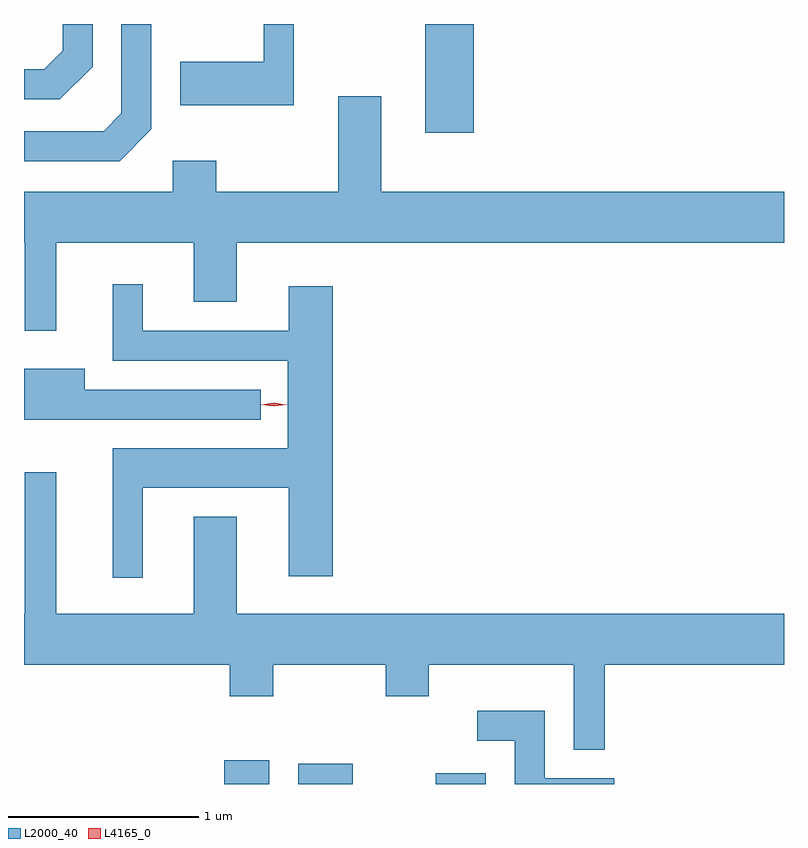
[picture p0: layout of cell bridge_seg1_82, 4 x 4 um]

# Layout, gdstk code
import gdstk
lib = gdstk.Library(unit=1e-6, precision=1e-09)
def R(c, l, rs):  # rectangles x0, y0, x1, y1
    for r in rs: c.add(gdstk.rectangle(r[:2], r[2:], *l))
def P(c, l, *ps):  # polygons
    for p in ps: c.add(gdstk.Polygon(p, *l))
L2000_40 = (2000, 40)
L4165_0 = (4165, 0)

bridge_seg1_82 = lib.new_cell('bridge_seg1_82')
R(bridge_seg1_82, L2000_40, [(1198.381,945.568,1198.619,945.694), (1198.771,945.568,1199.058,945.674), (1199.496,945.568,1199.759,945.624), (1199.441,948.996,1199.694,949.568)])
P(bridge_seg1_82, L2000_40, [(1197.999,949.014),(1197.999,949.568),(1197.841,949.568),(1197.841,949.097),(1197.749,949.004),(1197.328,949.004),(1197.328,948.846),(1197.832,948.846)],
  [(1198.749,949.568),(1198.591,949.568),(1198.591,949.369),(1198.151,949.369),(1198.151,949.141),(1198.749,949.141)],
  [(1197.689,949.344),(1197.689,949.568),(1197.531,949.568),(1197.531,949.427),(1197.434,949.329),(1197.328,949.329),(1197.328,949.171),(1197.517,949.171)],
  [(1197.499,948.416),(1198.221,948.416),(1198.221,948.106),(1198.449,948.106),(1198.449,948.416),(1201.328,948.416),(1201.328,948.684),(1199.209,948.684),(1199.209,949.189),(1198.981,949.189),(1198.981,948.684),(1198.339,948.684),(1198.339,948.849),(1198.111,948.849),(1198.111,948.684),(1197.328,948.684),(1197.328,948.416),(1197.331,948.416),(1197.331,947.953),(1197.499,947.953)],
  [(1197.954,947.126),(1198.721,947.126),(1198.721,946.661),(1198.954,946.661),(1198.954,948.189),(1198.721,948.189),(1198.721,947.954),(1197.954,947.954),(1197.954,948.198),(1197.796,948.198),(1197.796,947.796),(1198.716,947.796),(1198.716,947.334),(1197.796,947.334),(1197.796,946.653),(1197.954,946.653)],
  [(1198.573,947.644),(1197.649,947.644),(1197.649,947.754),(1197.328,947.754),(1197.328,947.486),(1198.573,947.486)],
  [(1200.384,946.196),(1201.328,946.196),(1201.328,946.464),(1198.449,946.464),(1198.449,946.974),(1198.221,946.974),(1198.221,946.464),(1197.499,946.464),(1197.499,947.208),(1197.331,947.208),(1197.331,946.464),(1197.328,946.464),(1197.328,946.196),(1198.411,946.196),(1198.411,946.031),(1198.639,946.031),(1198.639,946.196),(1199.231,946.196),(1199.231,946.031),(1199.459,946.031),(1199.459,946.196),(1200.221,946.196),(1200.221,945.748),(1200.384,945.748)],
  [(1200.434,945.599),(1200.069,945.599),(1200.069,945.954),(1199.713,945.954),(1199.713,945.796),(1199.911,945.796),(1199.911,945.568),(1200.434,945.568)])
P(bridge_seg1_82, L4165_0, [(1198.643,947.555),(1198.574,947.564),(1198.573,947.565),(1198.574,947.565),(1198.643,947.575),(1198.712,947.565),(1198.712,947.565),(1198.712,947.564)],
  [(1198.644,947.555),(1198.578,947.564),(1198.577,947.565),(1198.578,947.565),(1198.644,947.575),(1198.709,947.565),(1198.71,947.565),(1198.709,947.564)])

lib.write_gds('bridge_seg1_82.gds')
